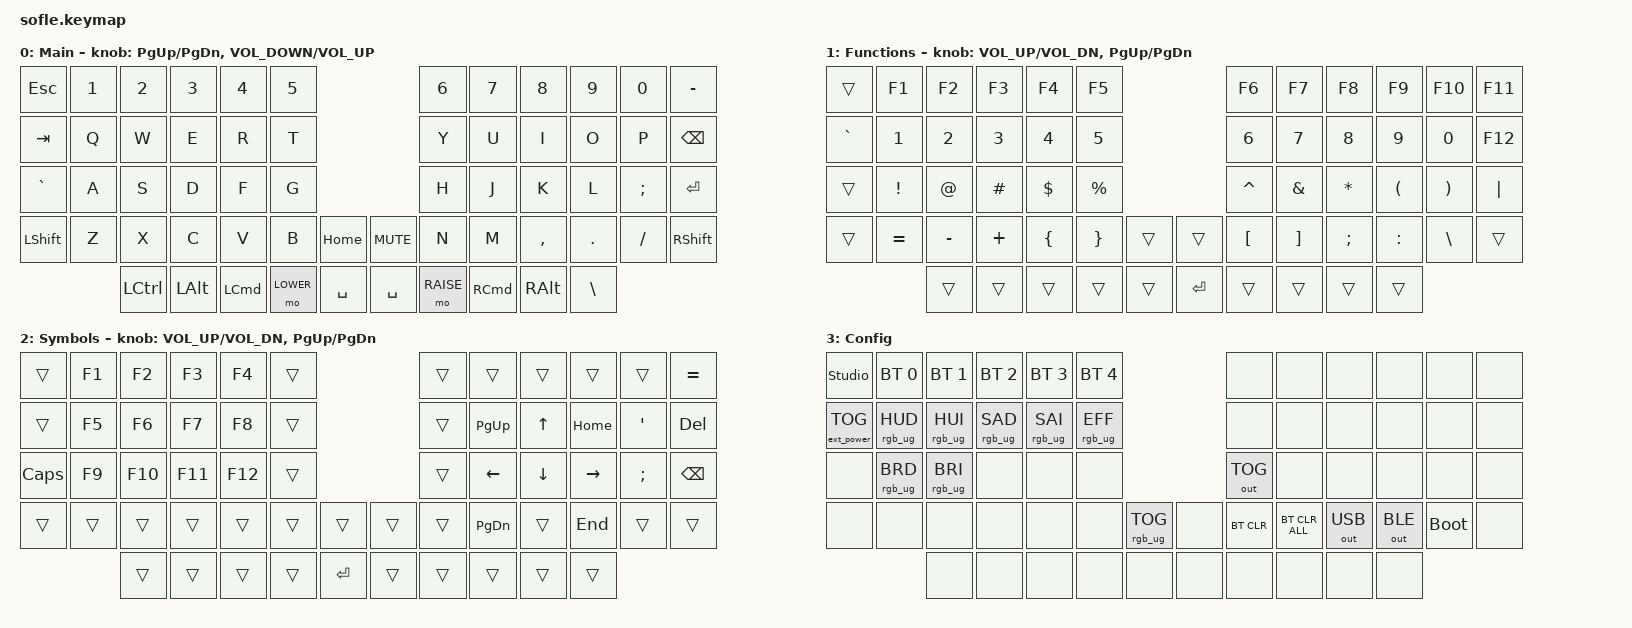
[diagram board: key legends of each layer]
/*
 * Copyright (c) 2020 The ZMK Contributors
 *
 * SPDX-License-Identifier: MIT
 */

#include <behaviors.dtsi>
#include <dt-bindings/zmk/bt.h>
#include <dt-bindings/zmk/ext_power.h>
#include <dt-bindings/zmk/keys.h>
#include <dt-bindings/zmk/outputs.h>
#include <dt-bindings/zmk/rgb.h>

#define BASE 0
#define LOWER 1
#define RAISE 2
#define ADJUST 3

/ {
    // Activate ADJUST layer by pressing raise and lower

    conditional_layers {
        compatible = "zmk,conditional-layers";

        adjust_layer {
            if-layers = <LOWER RAISE>;
            then-layer = <ADJUST>;
        };
    };

    keymap {
        compatible = "zmk,keymap";

        default_layer {
            display-name = "Main";

            bindings = <
&kp ESCAPE  &kp N1  &kp N2            &kp N3    &kp N4            &kp N5                              &kp N6     &kp N7             &kp N8     &kp N9         &kp N0    &kp MINUS
&kp TAB     &kp Q   &kp W             &kp E     &kp R             &kp T                               &kp Y      &kp U              &kp I      &kp O          &kp P     &kp BSPC
&kp GRAVE   &kp A   &kp S             &kp D     &kp F             &kp G                               &kp H      &kp J              &kp K      &kp L          &kp SEMI  &kp ENTER
&kp LSHFT   &kp Z   &kp X             &kp C     &kp V             &kp B      &kp HOME     &kp C_MUTE  &kp N      &kp M              &kp COMMA  &kp DOT        &kp FSLH  &kp RSHFT
                    &kp LEFT_CONTROL  &kp LALT  &kp LEFT_COMMAND  &mo LOWER  &kp SPACE    &kp SPACE   &mo RAISE  &kp RIGHT_COMMAND  &kp RALT   &kp BACKSLASH
            >;

            sensor-bindings =
                <&inc_dec_kp PAGE_UP PAGE_DOWN>,
                <&inc_dec_kp C_VOLUME_DOWN C_VOLUME_UP>;
        };

        lower_layer {
            display-name = "Functions";

            bindings = <
&trans     &kp F1     &kp F2     &kp F3    &kp F4    &kp F5                          &kp F6     &kp F7    &kp F8     &kp F9     &kp F10   &kp F11
&kp GRAVE  &kp N1     &kp N2     &kp N3    &kp N4    &kp N5                          &kp N6     &kp N7    &kp N8     &kp N9     &kp N0    &kp F12
&trans     &kp EXCL   &kp AT     &kp HASH  &kp DLLR  &kp PRCNT                       &kp CARET  &kp AMPS  &kp ASTRK  &kp LPAR   &kp RPAR  &kp PIPE
&trans     &kp EQUAL  &kp MINUS  &kp PLUS  &kp LBRC  &kp RBRC   &trans    &trans     &kp LBKT   &kp RBKT  &kp SEMI   &kp COLON  &kp BSLH  &trans
                      &trans     &trans    &trans    &trans     &trans    &kp ENTER  &trans     &trans    &trans     &trans
            >;

            sensor-bindings = <&inc_dec_kp C_VOL_UP C_VOL_DN &inc_dec_kp PG_UP PG_DN>;
        };

        raise_layer {
            display-name = "Symbols";

            bindings = <
&trans        &kp F1  &kp F2   &kp F3   &kp F4   &trans                       &trans  &trans         &trans    &trans     &trans         &kp EQUAL
&trans        &kp F5  &kp F6   &kp F7   &kp F8   &trans                       &trans  &kp PAGE_UP    &kp UP    &kp HOME   &kp APOS       &kp DELETE
&kp CAPSLOCK  &kp F9  &kp F10  &kp F11  &kp F12  &trans                       &trans  &kp LEFT       &kp DOWN  &kp RIGHT  &kp SEMICOLON  &kp BSPC
&trans        &trans  &trans   &trans   &trans   &trans  &trans       &trans  &trans  &kp PAGE_DOWN  &trans    &kp END    &trans         &trans
                      &trans   &trans   &trans   &trans  &kp ENTER    &trans  &trans  &trans         &trans    &trans
            >;

            sensor-bindings = <&inc_dec_kp C_VOL_UP C_VOL_DN &inc_dec_kp PG_UP PG_DN>;
        };

        adjust_layer {
            display-name = "Config";

            bindings = <
&studio_unlock     &bt BT_SEL 0     &bt BT_SEL 1     &bt BT_SEL 2     &bt BT_SEL 3     &bt BT_SEL 4                               &none         &none           &none         &none         &none        &none
&ext_power EP_TOG  &rgb_ug RGB_HUD  &rgb_ug RGB_HUI  &rgb_ug RGB_SAD  &rgb_ug RGB_SAI  &rgb_ug RGB_EFF                            &none         &none           &none         &none         &none        &none
&none              &rgb_ug RGB_BRD  &rgb_ug RGB_BRI  &none            &none            &none                                      &out OUT_TOG  &none           &none         &none         &none        &none
&none              &none            &none            &none            &none            &none            &rgb_ug RGB_TOG    &none  &bt BT_CLR    &bt BT_CLR_ALL  &out OUT_USB  &out OUT_BLE  &bootloader  &none
                                    &none            &none            &none            &none            &none              &none  &none         &none           &none         &none
            >;
        };
    };
};
